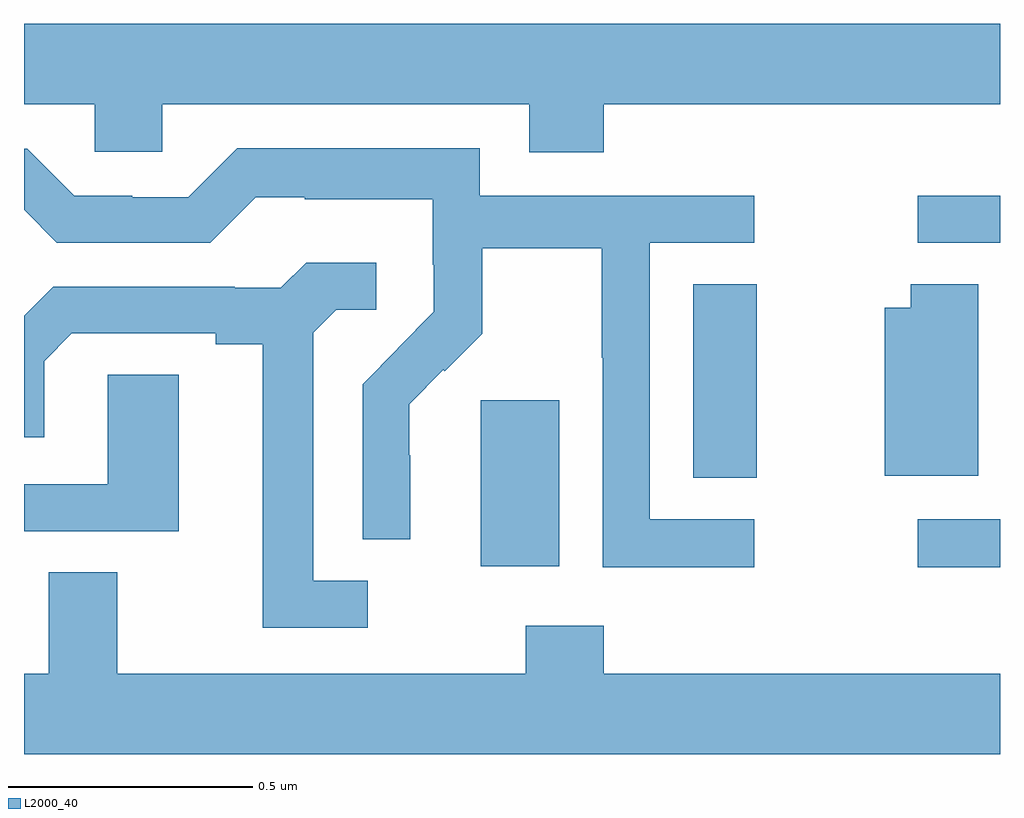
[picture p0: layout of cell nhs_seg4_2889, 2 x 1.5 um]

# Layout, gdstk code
import gdstk
lib = gdstk.Library(unit=1e-6, precision=1e-09)
def R(c, l, rs):  # rectangles x0, y0, x1, y1
    for r in rs: c.add(gdstk.rectangle(r[:2], r[2:], *l))
def P(c, l, *ps):  # polygons
    for p in ps: c.add(gdstk.Polygon(p, *l))
L2000_40 = (2000, 40)

nhs_seg4_2889 = lib.new_cell('nhs_seg4_2889')
R(nhs_seg4_2889, L2000_40, [(147.831,798.535,148,798.633), (146.936,798.537,147.097,798.877), (147.371,798.718,147.502,799.115), (147.831,799.2,148,799.296)])
P(nhs_seg4_2889, L2000_40, [(147.188,799.484),(148,799.484),(148,799.648),(146,799.648),(146,799.484),(146.145,799.484),(146.145,799.386),(146.283,799.386),(146.283,799.484),(147.035,799.484),(147.035,799.385),(147.188,799.385)],
  [(147.496,798.633),(147.282,798.633),(147.282,799.2),(147.496,799.2),(147.496,799.296),(146.934,799.296),(146.934,799.393),(146.437,799.393),(146.337,799.293),(146.222,799.293),(146.222,799.296),(146.103,799.296),(146.007,799.392),(146,799.392),(146,799.267),(146.067,799.2),(146.382,799.2),(146.475,799.293),(146.575,799.293),(146.575,799.289),(146.838,799.289),(146.838,799.155),(146.84,799.155),(146.84,799.058),(146.766,798.984),(146.767,798.983),(146.694,798.91),(146.694,798.592),(146.791,798.592),(146.791,798.764),(146.789,798.764),(146.789,798.869),(146.859,798.939),(146.862,798.936),(146.939,799.013),(146.939,799.188),(147.184,799.188),(147.184,798.964),(147.186,798.964),(147.186,798.535),(147.496,798.535)],
  [(146.704,798.507),(146.593,798.507),(146.593,799.015),(146.64,799.062),(146.722,799.062),(146.722,799.159),(146.578,799.159),(146.526,799.107),(146.432,799.107),(146.432,799.11),(146.06,799.11),(146,799.05),(146,798.801),(146.041,798.801),(146.041,798.957),(146.098,799.014),(146.393,799.014),(146.393,798.992),(146.489,798.992),(146.489,798.411),(146.704,798.411)],
  [(147.955,799.115),(147.817,799.115),(147.817,799.066),(147.764,799.066),(147.764,798.722),(147.955,798.722)],
  [(146.317,798.929),(146.172,798.929),(146.172,798.705),(146,798.705),(146,798.609),(146.317,798.609)],
  [(148,798.316),(147.188,798.316),(147.188,798.415),(147.028,798.415),(147.028,798.316),(146.191,798.316),(146.191,798.524),(146.051,798.524),(146.051,798.316),(146,798.316),(146,798.152),(148,798.152)])

lib.write_gds('nhs_seg4_2889.gds')
